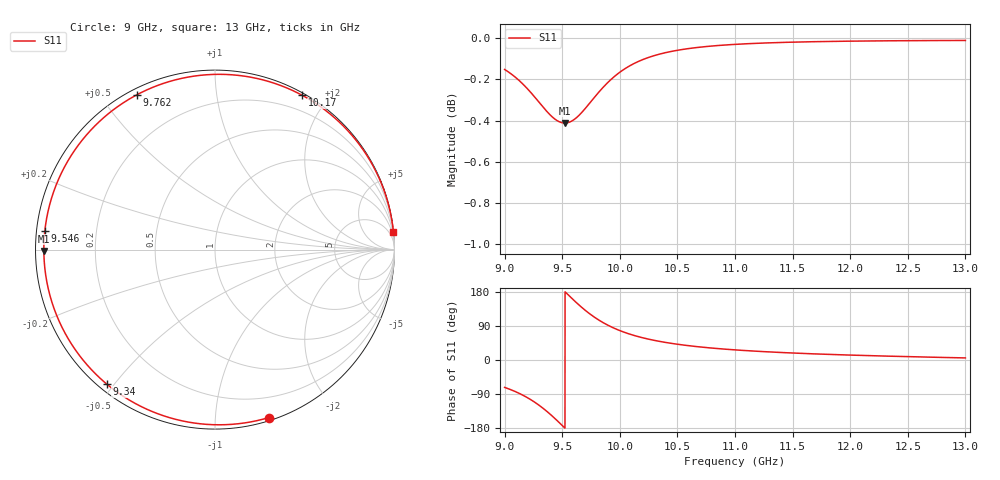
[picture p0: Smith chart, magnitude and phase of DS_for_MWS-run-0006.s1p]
! TOUCHSTONE file generated by CST DESIGN STUDIO
! Date and time: Tue Feb  4 18:26:27 2025
! Project name: C:\Work\MatlabApps\UnitCellOptimizationMatlab\CST\unitcell.cst
! Tree item: Tasks\Sweep1\SPara1\S-Parameters
! Header version: 2024
! Port assignment regex: !\s*Touchstone port\s*([0-9]+)\s*=\s*(CST MWS port|CST DES external port|CST DES block port)\s*(.+)\s* \(\"(.*)\"\)(\s*mode\s*([0-9]+))?.*
! Touchstone port assignment:
! Touchstone port 1 = CST DES external port 1 ("")
# GHz S MA R 50
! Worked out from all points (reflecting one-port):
!   4001 points, 9 GHz to 13 GHz, reference 50 ohm
!   lowest |S11| = -0.4 dB at 9.523 GHz (marker M1), VSWR 42.19, Z = 1.19 - j0.214 ohm
!   phase of S11 starts at -72 deg and turns -282 deg over the sweep
!   S11 on the Smith chart (normalised r, x): 9 GHz: 0.03, -1.37; 9.34 GHz: 0.02, -0.48; 9.546 GHz: 0.02, +0.06; 9.762 GHz: 0.02, +0.62; 10.17 GHz: 0.02, +1.71; 13 GHz: 0, +21
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9  0.9827 -72.3
9.093  0.9785 -83.3
9.199  0.9721 -99.6
9.273  0.9668 -113.8
9.34  0.9618 -128.9
9.384  0.9587 -140.0
9.429  0.9561 -152.2
9.5  0.9538 -172.7
9.523  0.9537 -179.5
9.546  0.9539 173.7
9.6  0.9554 157.9
9.66  0.9587 141.4
9.711  0.9623 128.4
9.762  0.9662 116.7
9.812  0.9699 106.5
9.866  0.9737 96.8
9.933  0.9778 86.4
10  0.9812 77.6
10.083  0.9846 68.6
10.174  0.9875 60.5
10.323  0.9908 50.4
10.5  0.9933 41.6
10.722  0.9952 33.7
11  0.9966 26.7
11.5  0.9978 18.4
12  0.9984 13.0
12.5  0.9987 8.9
13  0.9988 5.5
